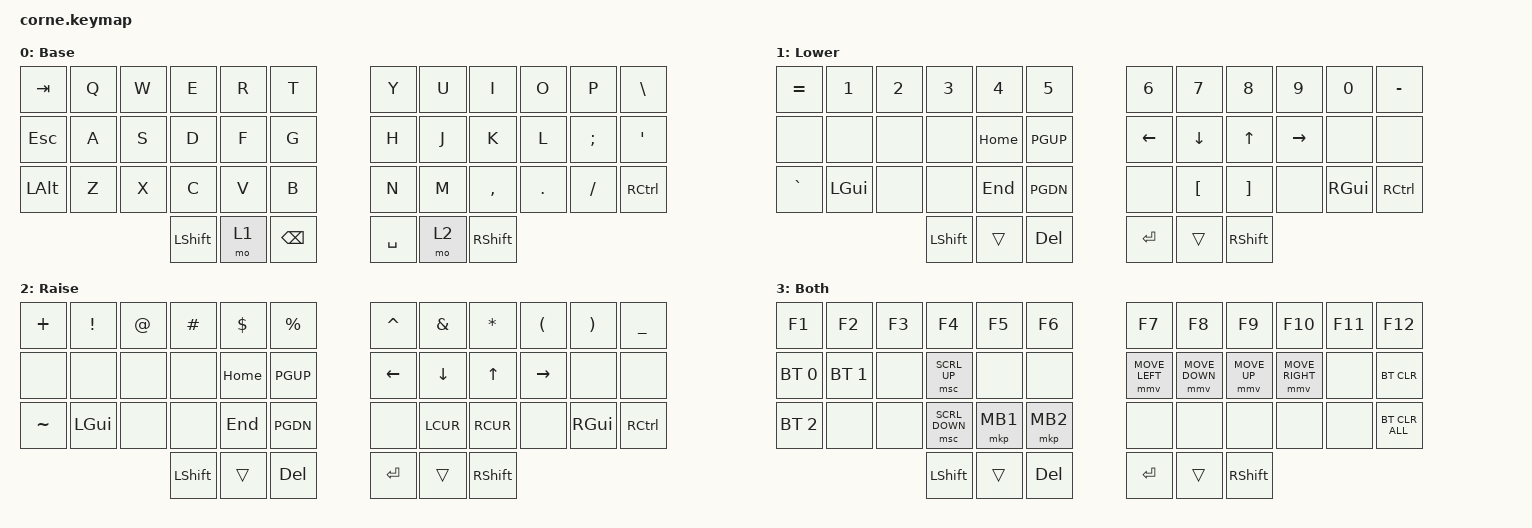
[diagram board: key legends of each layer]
/*
 * Copyright (c) 2020 The ZMK Contributors
 *
 * SPDX-License-Identifier: MIT
 */

#include <behaviors.dtsi>
#include <dt-bindings/zmk/keys.h>
#include <dt-bindings/zmk/bt.h>
#include <dt-bindings/zmk/mouse.h>

/ {
        keymap {
                compatible = "zmk,keymap";

                default_layer {
			display-name = "Base";
                        bindings = <
   &kp TAB   &kp Q &kp W &kp E &kp R &kp T       &kp Y &kp U  &kp I     &kp O   &kp P    &kp BSLH
   &kp ESC   &kp A &kp S &kp D &kp F &kp G       &kp H &kp J  &kp K     &kp L   &kp SEMI &kp SQT
   &kp LALT  &kp Z &kp X &kp C &kp V &kp B       &kp N &kp M  &kp COMMA &kp DOT &kp FSLH &kp RCTRL
                     &kp LSHFT &mo 1 &kp BSPC    &kp SPACE &mo 2 &kp RSHFT
                        >;
                };
                lower_layer {
			display-name = "Lower";
                        bindings = <
   &kp EQUAL &kp N1   &kp N2 &kp N3 &kp N4   &kp N5           &kp N6   &kp N7   &kp N8   &kp N9    &kp N0   &kp MINUS
   &none     &none    &none  &none  &kp HOME &kp PGUP         &kp LEFT &kp DOWN &kp UP   &kp RIGHT &none    &none
   &kp GRAVE &kp LGUI &none  &none  &kp END  &kp PGDN         &none    &kp LBKT &kp RBKT &none     &kp RGUI &kp RCTRL
                             &kp LSHFT &trans &kp DEL         &kp ENTER &trans  &kp RSHFT
                        >;
                };
                raise_layer {
			display-name = "Raise";
                        bindings = <
   &kp PLUS  &kp EXCL &kp AT &kp HASH &kp DLLR &kp PRCNT   &kp CARET &kp AMPS &kp ASTRK &kp LPAR  &kp RPAR &kp UNDER
   &none     &none    &none  &none   &kp HOME &kp PGUP     &kp LEFT  &kp DOWN &kp UP    &kp RIGHT &none    &none
   &kp TILDE &kp LGUI &none  &none   &kp END  &kp PGDN     &none     &kp LCUR &kp RCUR  &none     &kp RGUI &kp RCTRL
                             &kp LSHFT &trans &kp DEL       &kp ENTER &trans &kp RSHFT
                        >;
                };
		both_layer {
			display-name = "Both";
                        bindings = <
   &kp F1       &kp F2       &kp F3 &kp F4         &kp F5    &kp F6            &kp F7         &kp F8         &kp F9       &kp F10         &kp F11 &kp F12
   &bt BT_SEL 0 &bt BT_SEL 1 &none  &msc SCRL_UP   &none     &none             &mmv MOVE_LEFT &mmv MOVE_DOWN &mmv MOVE_UP &mmv MOVE_RIGHT &none   &bt BT_CLR
   &bt BT_SEL 2 &none        &none  &msc SCRL_DOWN &mkp  MB1 &mkp MB2          &none          &none          &none        &none           &none   &bt BT_CLR_ALL
                             &kp LSHFT &trans &kp DEL      &kp ENTER &trans &kp RSHFT
                        >;
		};
        };
	conditional_layers {
        	compatible = "zmk,conditional-layers";
        	tri_layer {
            		if-layers = <1 2>;
            		then-layer = <3>;
		};
	};
};
